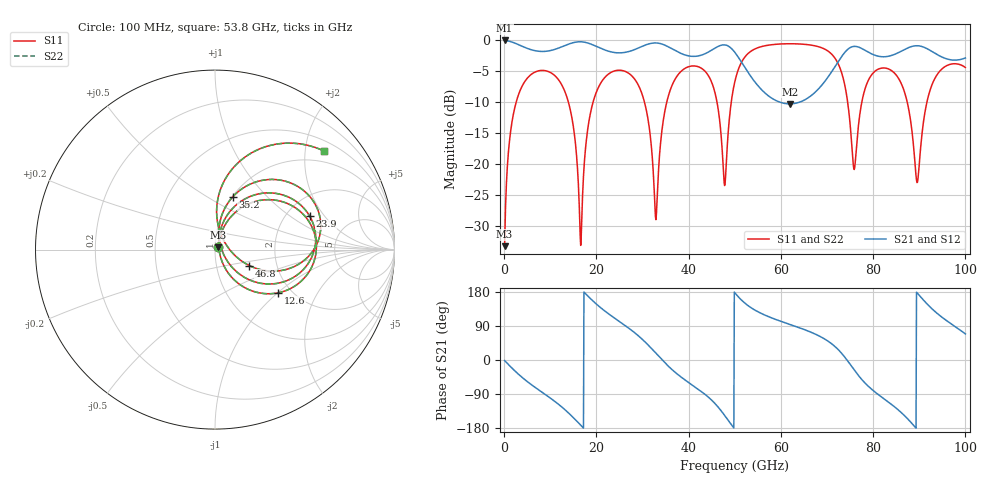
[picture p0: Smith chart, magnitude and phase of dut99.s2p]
! Touchstone file exported from HFSS 2026.1.0
!  File:  C:/ffzhzh/LocalFiles/Ansys_Project_Files/temp_train_TSV_RDL_99_1783455414_28540.aedt
!  Generated:  04:27:49 AM Jul  8, 2026
!  Design:  TSV_RDL
!  Project:  temp_train_TSV_RDL_99_1783455414_28540
! Variables:
!  h_bsmrdl = 2.23um
!  h_ox = 20um
!  h_rdl = 5um
!  h_sub = 84.55um
!  h_tmrdl = 4.39um
!  h_tsv = 84.55um
!  h_via = 3um
!  l_bsmrdl = 294.01um
!  l_sub = 3361.23um
!  l_tmrdl = 486.26um
!  m_sub = 200um
!  pitch = 54.59um
!  r_tsv = 7.96um
!  s_tmrdl = 10um
!  w_bsmrdl = 29.56um
!  w_sub = 500um
!  w_tmrdl = 15.16um
!  x_tsv_center1 = 493.84um
!  x_tsv_center2 = 817.41um
!  x_tsv_center3 = 1318.83um
!  x_tsv_center4 = 1642.4um
!  x_tsv_center5 = 2143.82um
!  x_tsv_center6 = 2467.39um
# GHz S MA R 50.000000
! Terminal data exported
! Port[1] = TM_RDL1_1_T1
! Port[2] = TM_RDL5_1_T1
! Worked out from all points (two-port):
!   1000 points, 100 MHz to 100 GHz, reference 50 ohm
!   highest |S21| = -0.15 dB at 100 MHz (marker M1); lowest = -10.3 dB at 61.9 GHz (marker M2)
!   |S21| within 3 dB of the highest: start of sweep to 51.04 GHz; 72.78 GHz to 96.15 GHz (23.37 GHz wide, 27.7 % of centre) (the widest 2 of 3)
!   lowest |S11| = -33.2 dB at 100 MHz (marker M3), VSWR 1.04, Z = 51.7 + j1.43 ohm
!   |S11| at or under -10 dB: 13.91 GHz to 19.3 GHz (5.385 GHz wide, 32.4 % of centre); 30.4 GHz to 35.27 GHz (4.866 GHz wide, 14.8 % of centre); 87.37 GHz to 91.67 GHz (4.301 GHz wide, 4.8 % of centre) (the widest 3 of 6)
!   |S22| runs from -33.2 to -0.7 dB; largest |S21 - S12| = 6.3e-13
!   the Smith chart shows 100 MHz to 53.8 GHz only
!   S11 on the Smith chart (normalised r, x): 100 MHz: 1.03, +0.03; 12.6 GHz: 1.71, -1.00; 23.9 GHz: 2.66, +1.45; 35.2 GHz: 1.01, +0.65; 46.8 GHz: 1.44, -0.27; 53.8 GHz: 0.72, +2.41
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0.1  0.02195 39.0  0.9832 -1.3  0.9832 -1.3  0.02195 39.0
! Gamma 0 0 0 0
! Port Impedance 50 0 50 0
3.5  0.393 44.9  0.8967 -41.8  0.8967 -41.8  0.393 44.9
12.6  0.4252 -34.6  0.8774 -125.0  0.8774 -125.0  0.4252 -34.6
16.8  0.03392 53.1  0.9586 -174.5  0.9586 -174.5  0.03406 52.8
19  0.2869 63.5  0.9138 158.7  0.9138 158.7  0.287 63.4
23.9  0.5595 19.5  0.7865 110.8  0.7865 110.8  0.5595 19.4
29.5  0.3992 -27.9  0.8678 59.6  0.8678 59.6  0.3992 -28.0
33.4  0.08057 73.9  0.9354 11.3  0.9354 11.3  0.0802 74.3
35.2  0.3083 71.5  0.8888 -11.6  0.8888 -11.6  0.3082 71.6
41.8  0.6094 15.2  0.7356 -74.7  0.7356 -74.7  0.6093 15.3
46.8  0.2115 -25.0  0.8938 -130.2  0.8938 -130.2  0.2115 -24.9
47.9  0.06998 45.7  0.905 -147.9  0.905 -147.9  0.07027 45.6
50.1  0.4735 77.0  0.7819 176.1  0.7819 176.1  0.4735 76.9
53.8  0.8188 42.2  0.4866 135.9  0.4866 135.9  0.8188 42.1
61.9  0.9253 3.7  0.3046 94.1  0.3046 94.1  0.9253 3.7
66.7  0.9003 -16.1  0.3578 72.4  0.3578 72.4  0.9003 -16.1
75.1  0.1912 -73.2  0.8646 -12.8  0.8646 -12.8  0.1915 -73.1
78.2  0.3971 20.9  0.821 -60.3  0.821 -60.3  0.3973 20.8
83.4  0.5792 -20.9  0.7353 -111.8  0.7353 -111.8  0.5794 -20.9
89.5  0.07118 -8.7  0.8918 177.6  0.8918 177.6  0.07237 -8.7
93.1  0.4642 34.7  0.7879 131.3  0.7879 131.3  0.4644 34.4
100  0.5961 -18.6  0.7119 68.8  0.7119 68.8  0.5962 -18.8
